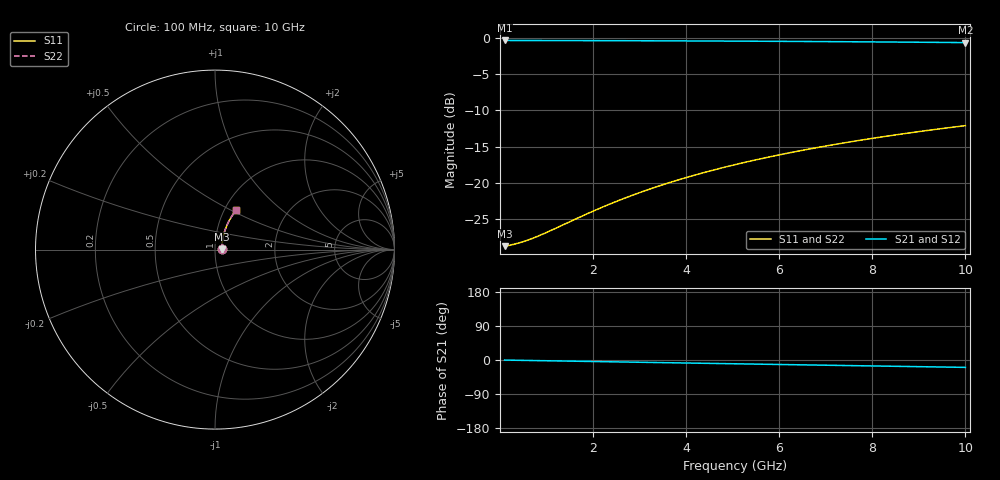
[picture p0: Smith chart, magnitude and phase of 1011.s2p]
# Hz S RI R 50.00
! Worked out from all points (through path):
!   100 points, 100 MHz to 10 GHz, reference 50 ohm
!   highest |S21| = -0.32 dB at 100 MHz (marker M1); lowest = -0.6 dB at 10 GHz (marker M2)
!   group delay of S21, straight-line fit = 5.41 ps
!   lowest |S11| = -28.8 dB at 100 MHz (marker M3), VSWR 1.08, Z = 53.8 + j0.262 ohm
!   |S11| at or under -10 dB: start of sweep to end of sweep
!   |S22| runs from -28.8 to -12.1 dB; largest |S21 - S12| = 0
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1e8  0.0363 0.00243  0.9637 -0.00335  0.9637 -0.00335  0.0363 0.00243
3e8  0.0368 0.00729  0.9632 -0.01  0.9632 -0.01  0.0368 0.00729
4e8  0.037 0.00972  0.963 -0.0134  0.963 -0.0134  0.037 0.00972
5e8  0.0371 0.0121  0.9628 -0.0167  0.9628 -0.0167  0.0371 0.0121
7e8  0.0375 0.017  0.9624 -0.0234  0.9624 -0.0234  0.0375 0.017
1e9  0.0382 0.0242  0.9618 -0.0334  0.9618 -0.0334  0.0382 0.0242
1.8e9  0.0405 0.0435  0.9593 -0.06  0.9593 -0.06  0.0405 0.0435
2.2e9  0.042 0.0531  0.9578 -0.0732  0.9578 -0.0732  0.042 0.0531
2.6e9  0.0438 0.0626  0.9559 -0.0864  0.9559 -0.0864  0.0438 0.0626
3e9  0.0458 0.072  0.9538 -0.0995  0.9538 -0.0995  0.0458 0.072
3.4e9  0.048 0.0814  0.9515 -0.1125  0.9515 -0.1125  0.048 0.0814
3.8e9  0.0505 0.0907  0.9489 -0.1254  0.9489 -0.1254  0.0505 0.0907
4.2e9  0.0532 0.0998  0.946 -0.1383  0.946 -0.1383  0.0532 0.0998
4.6e9  0.0562 0.1089  0.9429 -0.1511  0.9429 -0.1511  0.0562 0.1089
5.1e9  0.0602 0.1202  0.9386 -0.1669  0.9386 -0.1669  0.0602 0.1202
5.5e9  0.0637 0.129  0.9349 -0.1794  0.9349 -0.1794  0.0637 0.129
5.9e9  0.0675 0.1377  0.931 -0.1918  0.931 -0.1918  0.0675 0.1377
6.7e9  0.0756 0.1548  0.9225 -0.2162  0.9225 -0.2162  0.0756 0.1548
7.5e9  0.0845 0.1713  0.913 -0.24  0.913 -0.24  0.0845 0.1713
8.4e9  0.0956 0.1891  0.9014 -0.2661  0.9014 -0.2661  0.0956 0.1891
9.2e9  0.1061 0.2042  0.8902 -0.2886  0.8902 -0.2886  0.1061 0.2042
1e10  0.1174 0.2186  0.8782 -0.3104  0.8782 -0.3104  0.1174 0.2186
